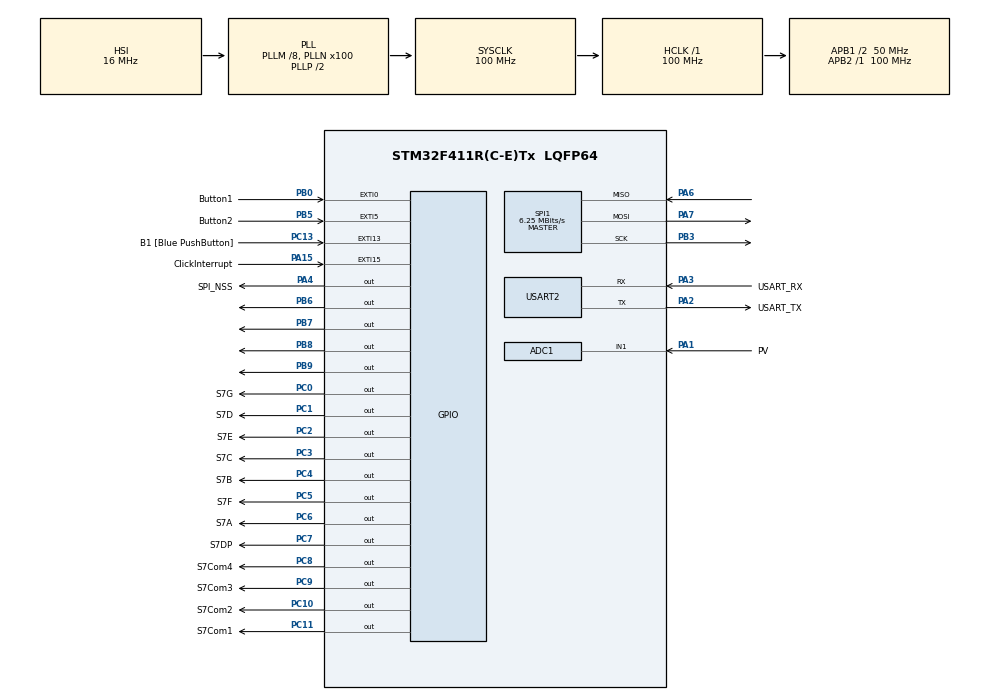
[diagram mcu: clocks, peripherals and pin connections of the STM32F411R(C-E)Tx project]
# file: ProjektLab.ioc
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ADC1.Channel-0\#ChannelRegularConversion=ADC_CHANNEL_1
ADC1.Channel-1\#ChannelRegularConversion=ADC_CHANNEL_TEMPSENSOR
ADC1.Channel-2\#ChannelRegularConversion=ADC_CHANNEL_VREFINT
ADC1.ClockPrescaler=ADC_CLOCK_SYNC_PCLK_DIV8
ADC1.ContinuousConvMode=ENABLE
ADC1.DMAContinuousRequests=ENABLE
ADC1.EnableAnalogWatchDog=true
ADC1.ExternalTrigConv=ADC_EXTERNALTRIGCONV_T2_TRGO
ADC1.HighThreshold=2000
ADC1.ITMode=ENABLE
ADC1.NbrOfConversion=3
ADC1.NbrOfConversionFlag=1
ADC1.Rank-0\#ChannelRegularConversion=1
ADC1.Rank-1\#ChannelRegularConversion=2
ADC1.Rank-2\#ChannelRegularConversion=3
ADC1.SamplingTime-0\#ChannelRegularConversion=ADC_SAMPLETIME_480CYCLES
ADC1.SamplingTime-1\#ChannelRegularConversion=ADC_SAMPLETIME_480CYCLES
ADC1.SamplingTime-2\#ChannelRegularConversion=ADC_SAMPLETIME_480CYCLES
ADC1.ScanConvMode=ENABLE
ADC1.WatchdogChannel=ADC_CHANNEL_1
ADC1.master=1
Dma.ADC1.0.Direction=DMA_PERIPH_TO_MEMORY
Dma.ADC1.0.FIFOMode=DMA_FIFOMODE_DISABLE
Dma.ADC1.0.Instance=DMA2_Stream0
Dma.ADC1.0.MemDataAlignment=DMA_MDATAALIGN_HALFWORD
Dma.ADC1.0.MemInc=DMA_MINC_ENABLE
Dma.ADC1.0.Mode=DMA_CIRCULAR
Dma.ADC1.0.PeriphDataAlignment=DMA_PDATAALIGN_HALFWORD
Dma.ADC1.0.PeriphInc=DMA_PINC_DISABLE
Dma.ADC1.0.Priority=DMA_PRIORITY_LOW
Dma.Request0=ADC1
Mcu.Family=STM32F4
Mcu.Name=STM32F411R(C-E)Tx
Mcu.Package=LQFP64
NVIC.ADC_IRQn=true\:0\:0\:false\:false\:true\:true\:true
NVIC.DMA2_Stream0_IRQn=true\:0\:0\:false\:false\:true\:false\:true
NVIC.EXTI0_IRQn=true\:0\:0\:false\:false\:true\:true\:true
NVIC.EXTI15_10_IRQn=true\:0\:0\:false\:false\:true\:true\:true
NVIC.EXTI9_5_IRQn=true\:0\:0\:false\:false\:true\:true\:true
NVIC.PriorityGroup=NVIC_PRIORITYGROUP_0
NVIC.TIM1_UP_TIM10_IRQn=true\:0\:0\:false\:false\:true\:true\:true
PA1.GPIO_Label=PV
PA1.Signal=ADCx_IN1
PA13.GPIO_Label=TMS
PA13.Mode=Serial_Wire
PA13.Signal=SYS_JTMS-SWDIO
PA14.GPIO_Label=TCK
PA14.Mode=Serial_Wire
PA14.Signal=SYS_JTCK-SWCLK
PA15.GPIO_Label=ClickInterrupt
PA15.Signal=GPXTI15
PA2.GPIO_Label=USART_TX
PA2.Mode=Asynchronous
PA2.Signal=USART2_TX
PA3.GPIO_Label=USART_RX
PA3.Mode=Asynchronous
PA3.Signal=USART2_RX
PA4.GPIO_Label=SPI_NSS
PA4.GPIO_PuPd=GPIO_PULLUP
PA4.GPIO_Speed=GPIO_SPEED_FREQ_HIGH
PA4.PinState=GPIO_PIN_SET
PA4.Signal=GPIO_Output
PA6.Mode=Full_Duplex_Master
PA6.Signal=SPI1_MISO
PA7.Mode=Full_Duplex_Master
PA7.Signal=SPI1_MOSI
PB0.GPIO_Label=Button1
PB0.GPIO_PuPd=GPIO_PULLUP
PB0.Signal=GPXTI0
PB3.Mode=Full_Duplex_Master
PB3.Signal=SPI1_SCK
PB5.GPIO_Label=Button2
PB5.GPIO_PuPd=GPIO_PULLUP
PB5.Signal=GPXTI5
PB6.Signal=GPIO_Output
PB7.Signal=GPIO_Output
PB8.Signal=GPIO_Output
PB9.Signal=GPIO_Output
PC0.GPIO_Label=S7G
PC0.Signal=GPIO_Output
PC1.GPIO_Label=S7D
PC1.Signal=GPIO_Output
PC10.GPIO_Label=S7Com2
PC10.Signal=GPIO_Output
PC11.GPIO_Label=S7Com1
PC11.Signal=GPIO_Output
PC13-ANTI_TAMP.GPIO_Label=B1 [Blue PushButton]
PC13-ANTI_TAMP.GPIO_ModeDefaultEXTI=GPIO_MODE_IT_FALLING
PC13-ANTI_TAMP.GPIO_PuPd=GPIO_PULLUP
PC13-ANTI_TAMP.Signal=GPXTI13
PC14-OSC32_IN.Mode=LSE-External-Oscillator
PC14-OSC32_IN.Signal=RCC_OSC32_IN
PC15-OSC32_OUT.Mode=LSE-External-Oscillator
PC15-OSC32_OUT.Signal=RCC_OSC32_OUT
PC2.GPIO_Label=S7E
PC2.Signal=GPIO_Output
PC3.GPIO_Label=S7C
PC3.Signal=GPIO_Output
PC4.GPIO_Label=S7B
PC4.Signal=GPIO_Output
PC5.GPIO_Label=S7F
PC5.Signal=GPIO_Output
PC6.GPIO_Label=S7A
PC6.Signal=GPIO_Output
PC7.GPIO_Label=S7DP
PC7.Signal=GPIO_Output
PC8.GPIO_Label=S7Com4
PC8.Signal=GPIO_Output
PC9.GPIO_Label=S7Com3
PC9.Signal=GPIO_Output
PH0\ -\ OSC_IN.Mode=HSE-External-Clock-Source
PH0\ -\ OSC_IN.Signal=RCC_OSC_IN
PH1\ -\ OSC_OUT.Mode=HSE-External-Clock-Source
PH1\ -\ OSC_OUT.Signal=RCC_OSC_OUT
ProjectManager.HeapSize=0x200
ProjectManager.StackSize=0x400
ProjectManager.TargetToolchain=STM32CubeIDE
RCC.48MHZClocksFreq_Value=50000000
RCC.AHBFreq_Value=100000000
RCC.APB1CLKDivider=RCC_HCLK_DIV2
RCC.APB1Freq_Value=50000000
RCC.APB1TimFreq_Value=100000000
RCC.APB2Freq_Value=100000000
RCC.APB2TimFreq_Value=100000000
RCC.CortexFreq_Value=100000000
RCC.FLatency-AdvancedSettings=FLASH_LATENCY_3
RCC.HCLKFreq_Value=100000000
RCC.HSE_VALUE=8000000
RCC.HSI_VALUE=16000000
RCC.PLLM=8
RCC.PLLN=100
RCC.SYSCLKFreq_VALUE=100000000
RCC.SYSCLKSource=RCC_SYSCLKSOURCE_PLLCLK
RCC.VCOOutputFreq_Value=200000000
SH.ADCx_IN1.0=ADC1_IN1,IN1
SPI1.BaudRatePrescaler=SPI_BAUDRATEPRESCALER_16
SPI1.CalculateBaudRate=6.25 MBits/s
SPI1.DataSize=SPI_DATASIZE_16BIT
SPI1.Direction=SPI_DIRECTION_2LINES
SPI1.Mode=SPI_MODE_MASTER
SPI1.VirtualType=VM_MASTER
TIM1.CounterMode=TIM_COUNTERMODE_UP
TIM1.Period=1000
TIM1.Prescaler=100
TIM2.Period=999
TIM2.Prescaler=99
TIM2.TIM_MasterOutputTrigger=TIM_TRGO_UPDATE
USART2.VirtualMode=VM_ASYNC
VP_ADC1_TempSens_Input.Mode=IN-TempSens
VP_ADC1_Vref_Input.Mode=IN-Vrefint
VP_TIM10_VS_ClockSourceINT.Mode=Enable_Timer
VP_TIM1_VS_ClockSourceINT.Mode=Internal
VP_TIM2_VS_ClockSourceINT.Mode=Internal
board=NUCLEO-F411RE

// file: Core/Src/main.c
/* USER CODE BEGIN Header */
/**
  ******************************************************************************
  * @file           : main.c
  * @brief          : Main program body
  ******************************************************************************
  * @attention
  *
  * <h2><center>&copy; Copyright (c) 2021 STMicroelectronics.
  * All rights reserved.</center></h2>
  *
  * This software component is licensed by ST under BSD 3-Clause license,
  * the "License"; You may not use this file except in compliance with the
  * License. You may obtain a copy of the License at:
  *                        opensource.org/licenses/BSD-3-Clause
  *
  ******************************************************************************
  */
/* USER CODE END Header */
#include "main.h"

/* USER CODE BEGIN Includes */
#include <stdlib.h>
#include "LIS35DE.h"
/* USER CODE END Includes */

ADC_HandleTypeDef hadc1;
DMA_HandleTypeDef hdma_adc1;

SPI_HandleTypeDef hspi1;

TIM_HandleTypeDef htim1;
TIM_HandleTypeDef htim2;
TIM_HandleTypeDef htim10;

UART_HandleTypeDef huart2;

/* USER CODE BEGIN PV */
static int TimerCnt = 0;
static int TimerCnt2 = 0;
volatile uint32_t click_cnt;
uint16_t  ADCRes;
int disp = 1;
int licznik = 0;
int x = 1;
int counter = 0;
int d1 = 10;
int d2 = 11;
int d3 = 12;
int d4 = 13;
uint16_t ADCDMABuff[3];
uint16_t VRef;
uint16_t Temp;
uint16_t ADCRes;
/* USER CODE END PV */

void SystemClock_Config(void);
static void MX_GPIO_Init(void);
static void MX_USART2_UART_Init(void);
static void MX_TIM10_Init(void);
static void MX_DMA_Init(void);
static void MX_ADC1_Init(void);
static void MX_TIM1_Init(void);
static void MX_TIM2_Init(void);
static void MX_SPI1_Init(void);

/* USER CODE BEGIN 0 */

uint16_t SPITx[10];
uint16_t SPIRx[10];
uint8_t SPIRead( uint8_t Address ) {
	SPITx[0] = (0x80 | Address) << 8;
	HAL_GPIO_WritePin(GPIOA, SPI_NSS_Pin, GPIO_PIN_RESET);
	HAL_SPI_TransmitReceive(&hspi1, SPITx, SPIRx, 1, 100);
	HAL_GPIO_WritePin(GPIOA, SPI_NSS_Pin, GPIO_PIN_SET);
	return( (uint8_t)(SPIRx[0] & 0xFF) );
}
void SPIWrite( uint8_t AddressAndAtributes, uint8_t Data  ) {
	SPITx[0] = (AddressAndAtributes << 8) + Data;
	HAL_GPIO_WritePin(GPIOA, SPI_NSS_Pin, GPIO_PIN_RESET);
	HAL_SPI_TransmitReceive(&hspi1, SPITx, SPIRx, 1, 100);
	HAL_GPIO_WritePin(GPIOA, SPI_NSS_Pin, GPIO_PIN_SET);
}

static const uint16_t b7SegmentTable[16] =
{
		0X3F, /* 0 */
		0X06, /* 1 */
		0X5B, /* 2 */
		0X4F, /* 3 */
		0X66, /* 4 */
		0X6D, /* 5 */
		0X7D, /* 6 */
		0X07, /* 7 */
		0X7F, /* 8 */
		0X6F, /* 9 */
		0X77, /* A */
		0X7C, /* B */
		0X39, /* C */
		0X5E, /* D */
		0X79, /* E */
		0X71 /* F */
};
void LED(int ind){
	HAL_GPIO_WritePin(GPIOB, GPIO_PIN_8|GPIO_PIN_9|GPIO_PIN_6|GPIO_PIN_7, GPIO_PIN_RESET);
	switch(ind){
		case 1:
				HAL_GPIO_WritePin(GPIOB, GPIO_PIN_6, GPIO_PIN_SET);
				break;
		case 2:
				HAL_GPIO_WritePin(GPIOB, GPIO_PIN_8|GPIO_PIN_9|GPIO_PIN_6, GPIO_PIN_SET);
				break;
		case 3:
				HAL_GPIO_WritePin(GPIOB, GPIO_PIN_7|GPIO_PIN_8, GPIO_PIN_SET);
			   	break;
		case 4:
				HAL_GPIO_WritePin(GPIOB, GPIO_PIN_9, GPIO_PIN_SET);
				break;
		case 5:
				HAL_GPIO_WritePin(GPIOB, GPIO_PIN_8|GPIO_PIN_9|GPIO_PIN_6|GPIO_PIN_7, GPIO_PIN_SET);
				break;
		}
}
int __io_putchar(int ch) {
	HAL_UART_Transmit(&huart2, (uint8_t *)&ch, 1, 0xFFFF);
	return ch;
}
void display(int num, int ind){
	   HAL_GPIO_WritePin(GPIOC, S7Com4_Pin, GPIO_PIN_SET);
	   HAL_GPIO_WritePin(GPIOC, S7Com3_Pin, GPIO_PIN_SET);
	   HAL_GPIO_WritePin(GPIOC, S7Com2_Pin, GPIO_PIN_SET);
	   HAL_GPIO_WritePin(GPIOC, S7Com1_Pin, GPIO_PIN_SET);
	   switch(ind){
			case 1:
				   HAL_GPIO_WritePin(GPIOC, S7Com1_Pin, GPIO_PIN_RESET);
				   break;
			case 2:
				   HAL_GPIO_WritePin(GPIOC, S7Com2_Pin, GPIO_PIN_RESET);
				   break;
			case 3:
				   HAL_GPIO_WritePin(GPIOC, S7Com3_Pin, GPIO_PIN_RESET);
				   break;
			case 4:
				   HAL_GPIO_WritePin(GPIOC, S7Com4_Pin, GPIO_PIN_RESET);
				   break;
		}
	   HAL_GPIO_WritePin(GPIOC, S7A_Pin, b7SegmentTable[num] & 1);
	   HAL_GPIO_WritePin(GPIOC, S7B_Pin, b7SegmentTable[num] & 2);
	   HAL_GPIO_WritePin(GPIOC, S7C_Pin, b7SegmentTable[num] & 4);
	   HAL_GPIO_WritePin(GPIOC, S7D_Pin, b7SegmentTable[num] & 8);
	   HAL_GPIO_WritePin(GPIOC, S7E_Pin, b7SegmentTable[num] & 16);
	   HAL_GPIO_WritePin(GPIOC, S7F_Pin, b7SegmentTable[num] & 32);
	   HAL_GPIO_WritePin(GPIOC, S7G_Pin, b7SegmentTable[num] & 64);
	}

void HAL_TIM_PeriodElapsedCallback(TIM_HandleTypeDef *htim) {
	if ( (htim == &htim1) && (x%3==0) ){
		counter = 0;
		 switch (disp) {
				  case 1:
					  display(ADCRes % 10, 4);
					  disp++;
					  break;
				  case 2:
					  display((ADCRes % 100) / 10, 3);
					  disp++;
					  break;
				  case 3:
					  display((ADCRes % 1000)/100, 2);
					  disp++;
					  break;
				  case 4:
					  display(ADCRes/1000, 1);
					  disp = 1;
					  break;
				  }
		TimerCnt++;
		if (ADCRes > 2000){
			LED(2);
		}
		else{
			LED(1);
		}

		switch (TimerCnt) {
			case 1000:
				HAL_ADC_Start(&hadc1);
				HAL_ADC_PollForConversion(&hadc1, HAL_MAX_DELAY);
				ADCRes = HAL_ADC_GetValue(&hadc1);                    // 0-4095 == 0-3.3V
				ADCRes = (uint16_t)(3.3 * (double)ADCRes / 4.095);    // [mV]
				printf("ADC: %d \r\n", ADCRes);
				TimerCnt = 0;
				  }
  }
	else if ( (htim == &htim1) && (x%3==1) ){
		 switch (disp) {
				  case 1:
					  display(counter % 10, 4);
					  disp++;
					  break;
				  case 2:
					  display((counter % 100) / 10, 3);
					  disp++;
					  break;
				  case 3:
					  display((counter % 1000)/100, 2);
					  disp++;
					  break;
				  case 4:
					  display(counter/1000, 1);
					  disp = 1;
					  break;
				  }
		 LED(3);
		 TimerCnt2++;
		 switch (TimerCnt2) {
		 			case 1000:
//						HAL_ADC_Start_DMA(&hadc1, (uint32_t *)ADCDMABuff,  3);
//						HAL_ADC_PollForConversion(&hadc1, HAL_MAX_DELAY);
//						uint16_t VRef, Temp, ADCRes;
						ADCRes = ADCDMABuff[0];
						ADCRes = (uint16_t)(3.3 * (double)ADCRes / 4.095);

						Temp = ADCDMABuff[1];
						Temp = (float)(((3.3 * Temp/4.095 - 697)/2.5)*100);

						VRef = ADCDMABuff[2];
						VRef = (uint16_t)(3.3 * (double)VRef / 4.095);

						printf("%d %d %d \r\n", (uint16_t)ADCRes, (uint16_t)Temp, (uint16_t)VRef);
//						printf("%d %d %d \r\n", ADCDMABuff);
						counter++;
						TimerCnt2 = 0;
			  }

 }
	else if ( (htim == &htim1) && (x%3==2) ){
		counter = 0;
//		switch (disp) {
//			  case 1:
//				  display(d1, 1);
//				  disp++;
//				  break;
//			  case 2:
//				  display(d2, 2);
//				  disp++;
//				  break;
//			  case 3:
//				  display(d3, 3);
//				  disp++;
//				  break;
//			  case 4:
//				  display(d4, 4);
//				  disp = 1;
//				  break;
//			  }
		switch (disp) {
			  case 1:
				  display(click_cnt % 10, 4);
				  disp++;
				  break;
			  case 2:
				  display((click_cnt % 100) / 10, 3);
				  disp++;
				  break;
			  case 3:
				  display((click_cnt % 1000)/100, 2);
				  disp++;
				  break;
			  case 4:
				  display(click_cnt/1000, 1);
				  disp = 1;
				  break;
			  }
		uint8_t data_x, data_y, data_z;

//		data_x = SPIRead(LIS35DE_OUTX);
//		data_y = SPIRead(LIS35DE_OUTY);
//		data_z = SPIRead(LIS35DE_OUTZ);
//		printf("%d %d %d \r\n", (int)data_x, (int)data_y, (int)data_z);
		TimerCnt++;
		switch (TimerCnt) {
			case 500:
				LED(4);
				data_x = SPIRead(LIS35DE_OUTX);
				data_y = SPIRead(LIS35DE_OUTY);
				data_z = SPIRead(LIS35DE_OUTZ);
				printf("%d %d %d \r\n", (int)data_x, (int)data_y, (int)data_z);
//				d1++;
//				d2++;
//				d3++;
//				d4++;
//				if (d1 == 16){
//					d1 = 10;
//				}
//				if (d2 == 16){
//					d2 = 10;
//				}
//				if (d3 == 16){
//					d3 = 10;
//				}
//				if (d4 == 16){
//					d4 = 10;
//				}

				break;
			case 1000:
				LED(5);
				TimerCnt = 0;
				break;
		}
	}
	if (htim == &htim10){
		if ((HAL_GPIO_ReadPin(GPIOB, Button1_Pin) == 0) || (HAL_GPIO_ReadPin(GPIOB, Button2_Pin) == 0)){
					licznik++;
				}
		else licznik = 0;
	}

}
//void HAL_TIM_PeriodElapsedCallback(TIM_HandleTypeDef *htim) {
//	if( htim == &htim1 )
//	{
//		uint8_t data_x, data_y, data_z;
//
//		data_x = SPIRead(LIS35DE_OUTX);
//		data_y = SPIRead(LIS35DE_OUTY);
//		data_z = SPIRead(LIS35DE_OUTZ);
//
//		printf("%d %d %d \r\n", (int)data_x, (int)data_y, (int)data_z);
//
//		//time = display_show_number(ADCRes, DISPLAY_FREQ_250, time);
//	}
//}
/* USER CODE END 0 */

int main(void)
{

  /* MCU Configuration--------------------------------------------------------*/

  /* Reset of all peripherals, Initializes the Flash interface and the Systick. */
  HAL_Init();

  /* Configure the system clock */
  SystemClock_Config();

  /* Initialize all configured peripherals */
  MX_GPIO_Init();
  MX_USART2_UART_Init();
  MX_TIM10_Init();
  MX_DMA_Init();
  MX_ADC1_Init();
  MX_TIM1_Init();
  MX_TIM2_Init();
  MX_SPI1_Init();
  /* USER CODE BEGIN 2 */
  HAL_TIM_Base_Start_IT(&htim1);
  HAL_TIM_Base_Start_IT(&htim2);
  HAL_TIM_Base_Start_IT(&htim10);
  HAL_ADC_Start_IT(&hadc1);
  HAL_ADC_Start_DMA(&hadc1, (uint32_t *)ADCDMABuff,  3);
  HAL_ADC_Start(&hadc1);
  SPIWrite(LIS35DE_CTRL_REG1, LIS35DE_CTRL_REG1_DR | LIS35DE_CTRL_REG1_PD | LIS35DE_CTRL_REG1_ZEN |
		  	  	  	  	  	  LIS35DE_CTRL_REG1_YEN | LIS35DE_CTRL_REG1_XEN);
  SPIWrite(LIS35DE_CTRL_REG2, LIS35DE_CTRL_REG2_BOOT);
  SPIWrite(LIS35DE_CTRL_REG3, LIS35DE_CTRL_REG3_IHL | LIS35DE_CTRL_REG3_I1CFG0 |
		  	  	  	  	  	  LIS35DE_CTRL_REG3_I1CFG1 | LIS35DE_CTRL_REG3_I1CFG2);

  SPIWrite(LIS35DE_CLICK_CFG, LIS35DE_CLICK_CFG_DOUBLE_X | LIS35DE_CLICK_CFG_DOUBLE_Y | LIS35DE_CLICK_CFG_DOUBLE_Z);
  SPIWrite(LIS35DE_CLICK_THSY_X, 0xF1);
  SPIWrite(LIS35DE_CLICK_THSZ, 0x01);

  SPIWrite(LIS35DE_CLICK_TIMELIMIT, 0xFF);
  SPIWrite(LIS35DE_CLICK_LATENCY, 0x7F);
  SPIWrite(LIS35DE_CLICK_WINDOW, 0xFF);
  /* USER CODE END 2 */

  /* Infinite loop */
  while (1)
  {

    /* USER CODE BEGIN 3 */

	  if ((licznik>5) && (licznik<255)){
		  if(HAL_GPIO_ReadPin(GPIOB, Button1_Pin) == 0){
			  if (x == 0){
				  x = 0;
				  licznik = 255;
			  }
			  else if (x > 0){
				  x--;
				  licznik = 255;
			  }
		  }
		  else if ((HAL_GPIO_ReadPin(GPIOB, Button2_Pin) == 0)){
			  if (x == 2){
				  x = 2;
				  licznik = 255;
			  }
			  else if (x <2){
				  x++;
				  licznik = 255;
			  }
		  }
	  }

 }
  /* USER CODE END 3 */
}

void SystemClock_Config(void)
{
  RCC_OscInitTypeDef RCC_OscInitStruct = {0};
  RCC_ClkInitTypeDef RCC_ClkInitStruct = {0};

  /** Configure the main internal regulator output voltage
  */
  __HAL_RCC_PWR_CLK_ENABLE();
  __HAL_PWR_VOLTAGESCALING_CONFIG(PWR_REGULATOR_VOLTAGE_SCALE1);
  /** Initializes the RCC Oscillators according to the specified parameters
  * in the RCC_OscInitTypeDef structure.
  */
  RCC_OscInitStruct.OscillatorType = RCC_OSCILLATORTYPE_HSI;
  RCC_OscInitStruct.HSIState = RCC_HSI_ON;
  RCC_OscInitStruct.HSICalibrationValue = RCC_HSICALIBRATION_DEFAULT;
  RCC_OscInitStruct.PLL.PLLState = RCC_PLL_ON;
  RCC_OscInitStruct.PLL.PLLSource = RCC_PLLSOURCE_HSI;
  RCC_OscInitStruct.PLL.PLLM = 8;
  RCC_OscInitStruct.PLL.PLLN = 100;
  RCC_OscInitStruct.PLL.PLLP = RCC_PLLP_DIV2;
  RCC_OscInitStruct.PLL.PLLQ = 4;
  if (HAL_RCC_OscConfig(&RCC_OscInitStruct) != HAL_OK)
  {
    Error_Handler();
  }
  /** Initializes the CPU, AHB and APB buses clocks
  */
  RCC_ClkInitStruct.ClockType = RCC_CLOCKTYPE_HCLK|RCC_CLOCKTYPE_SYSCLK
                              |RCC_CLOCKTYPE_PCLK1|RCC_CLOCKTYPE_PCLK2;
  RCC_ClkInitStruct.SYSCLKSource = RCC_SYSCLKSOURCE_PLLCLK;
  RCC_ClkInitStruct.AHBCLKDivider = RCC_SYSCLK_DIV1;
  RCC_ClkInitStruct.APB1CLKDivider = RCC_HCLK_DIV2;
  RCC_ClkInitStruct.APB2CLKDivider = RCC_HCLK_DIV1;

  if (HAL_RCC_ClockConfig(&RCC_ClkInitStruct, FLASH_LATENCY_3) != HAL_OK)
  {
    Error_Handler();
  }
}

static void MX_ADC1_Init(void)
{

  ADC_AnalogWDGConfTypeDef AnalogWDGConfig = {0};
  ADC_ChannelConfTypeDef sConfig = {0};

  /** Configure the global features of the ADC (Clock, Resolution, Data Alignment and number of conversion)
  */
  hadc1.Instance = ADC1;
  hadc1.Init.ClockPrescaler = ADC_CLOCK_SYNC_PCLK_DIV8;
  hadc1.Init.Resolution = ADC_RESOLUTION_12B;
  hadc1.Init.ScanConvMode = ENABLE;
  hadc1.Init.ContinuousConvMode = ENABLE;
  hadc1.Init.DiscontinuousConvMode = DISABLE;
  hadc1.Init.ExternalTrigConvEdge = ADC_EXTERNALTRIGCONVEDGE_RISING;
  hadc1.Init.ExternalTrigConv = ADC_EXTERNALTRIGCONV_T2_TRGO;
  hadc1.Init.DataAlign = ADC_DATAALIGN_RIGHT;
  hadc1.Init.NbrOfConversion = 3;
  hadc1.Init.DMAContinuousRequests = ENABLE;
  hadc1.Init.EOCSelection = ADC_EOC_SINGLE_CONV;
  if (HAL_ADC_Init(&hadc1) != HAL_OK)
  {
    Error_Handler();
  }
  /** Configure the analog watchdog
  */
  AnalogWDGConfig.WatchdogMode = ADC_ANALOGWATCHDOG_SINGLE_REG;
  AnalogWDGConfig.HighThreshold = 2000;
  AnalogWDGConfig.LowThreshold = 0;
  AnalogWDGConfig.Channel = ADC_CHANNEL_1;
  AnalogWDGConfig.ITMode = ENABLE;
  if (HAL_ADC_AnalogWDGConfig(&hadc1, &AnalogWDGConfig) != HAL_OK)
  {
    Error_Handler();
  }
  /** Configure for the selected ADC regular channel its corresponding rank in the sequencer and its sample time.
  */
  sConfig.Channel = ADC_CHANNEL_1;
  sConfig.Rank = 1;
  sConfig.SamplingTime = ADC_SAMPLETIME_480CYCLES;
  if (HAL_ADC_ConfigChannel(&hadc1, &sConfig) != HAL_OK)
  {
    Error_Handler();
  }
  /** Configure for the selected ADC regular channel its corresponding rank in the sequencer and its sample time.
  */
  sConfig.Channel = ADC_CHANNEL_TEMPSENSOR;
  sConfig.Rank = 2;
  if (HAL_ADC_ConfigChannel(&hadc1, &sConfig) != HAL_OK)
  {
    Error_Handler();
  }
  /** Configure for the selected ADC regular channel its corresponding rank in the sequencer and its sample time.
  */
  sConfig.Channel = ADC_CHANNEL_VREFINT;
  sConfig.Rank = 3;
  if (HAL_ADC_ConfigChannel(&hadc1, &sConfig) != HAL_OK)
  {
    Error_Handler();
  }

}

static void MX_SPI1_Init(void)
{

  /* SPI1 parameter configuration*/
  hspi1.Instance = SPI1;
  hspi1.Init.Mode = SPI_MODE_MASTER;
  hspi1.Init.Direction = SPI_DIRECTION_2LINES;
  hspi1.Init.DataSize = SPI_DATASIZE_16BIT;
  hspi1.Init.CLKPolarity = SPI_POLARITY_LOW;
  hspi1.Init.CLKPhase = SPI_PHASE_1EDGE;
  hspi1.Init.NSS = SPI_NSS_SOFT;
  hspi1.Init.BaudRatePrescaler = SPI_BAUDRATEPRESCALER_16;
  hspi1.Init.FirstBit = SPI_FIRSTBIT_MSB;
  hspi1.Init.TIMode = SPI_TIMODE_DISABLE;
  hspi1.Init.CRCCalculation = SPI_CRCCALCULATION_DISABLE;
  hspi1.Init.CRCPolynomial = 10;
  if (HAL_SPI_Init(&hspi1) != HAL_OK)
  {
    Error_Handler();
  }

}

static void MX_TIM1_Init(void)
{

  TIM_ClockConfigTypeDef sClockSourceConfig = {0};
  TIM_MasterConfigTypeDef sMasterConfig = {0};

  htim1.Instance = TIM1;
  htim1.Init.Prescaler = 100;
  htim1.Init.CounterMode = TIM_COUNTERMODE_UP;
  htim1.Init.Period = 1000;
  htim1.Init.ClockDivision = TIM_CLOCKDIVISION_DIV1;
  htim1.Init.RepetitionCounter = 0;
  htim1.Init.AutoReloadPreload = TIM_AUTORELOAD_PRELOAD_DISABLE;
  if (HAL_TIM_Base_Init(&htim1) != HAL_OK)
  {
    Error_Handler();
  }
  sClockSourceConfig.ClockSource = TIM_CLOCKSOURCE_INTERNAL;
  if (HAL_TIM_ConfigClockSource(&htim1, &sClockSourceConfig) != HAL_OK)
  {
    Error_Handler();
  }
  sMasterConfig.MasterOutputTrigger = TIM_TRGO_RESET;
  sMasterConfig.MasterSlaveMode = TIM_MASTERSLAVEMODE_DISABLE;
  if (HAL_TIMEx_MasterConfigSynchronization(&htim1, &sMasterConfig) != HAL_OK)
  {
    Error_Handler();
  }

}

static void MX_TIM2_Init(void)
{

  TIM_ClockConfigTypeDef sClockSourceConfig = {0};
  TIM_MasterConfigTypeDef sMasterConfig = {0};

  htim2.Instance = TIM2;
  htim2.Init.Prescaler = 99;
  htim2.Init.CounterMode = TIM_COUNTERMODE_UP;
  htim2.Init.Period = 999;
  htim2.Init.ClockDivision = TIM_CLOCKDIVISION_DIV1;
  htim2.Init.AutoReloadPreload = TIM_AUTORELOAD_PRELOAD_DISABLE;
  if (HAL_TIM_Base_Init(&htim2) != HAL_OK)
  {
    Error_Handler();
  }
  sClockSourceConfig.ClockSource = TIM_CLOCKSOURCE_INTERNAL;
  if (HAL_TIM_ConfigClockSource(&htim2, &sClockSourceConfig) != HAL_OK)
  {
    Error_Handler();
  }
  sMasterConfig.MasterOutputTrigger = TIM_TRGO_UPDATE;
  sMasterConfig.MasterSlaveMode = TIM_MASTERSLAVEMODE_DISABLE;
  if (HAL_TIMEx_MasterConfigSynchronization(&htim2, &sMasterConfig) != HAL_OK)
  {
    Error_Handler();
  }

}

static void MX_TIM10_Init(void)
{

  htim10.Instance = TIM10;
  htim10.Init.Prescaler = 0;
  htim10.Init.CounterMode = TIM_COUNTERMODE_UP;
  htim10.Init.Period = 65535;
  htim10.Init.ClockDivision = TIM_CLOCKDIVISION_DIV1;
  htim10.Init.AutoReloadPreload = TIM_AUTORELOAD_PRELOAD_DISABLE;
  if (HAL_TIM_Base_Init(&htim10) != HAL_OK)
  {
    Error_Handler();
  }

}

static void MX_USART2_UART_Init(void)
{

  huart2.Instance = USART2;
  huart2.Init.BaudRate = 115200;
  huart2.Init.WordLength = UART_WORDLENGTH_8B;
  huart2.Init.StopBits = UART_STOPBITS_1;
  huart2.Init.Parity = UART_PARITY_NONE;
  huart2.Init.Mode = UART_MODE_TX_RX;
  huart2.Init.HwFlowCtl = UART_HWCONTROL_NONE;
  huart2.Init.OverSampling = UART_OVERSAMPLING_16;
  if (HAL_UART_Init(&huart2) != HAL_OK)
  {
    Error_Handler();
  }

}

static void MX_DMA_Init(void)
{

  /* DMA controller clock enable */
  __HAL_RCC_DMA2_CLK_ENABLE();

  /* DMA interrupt init */
  /* DMA2_Stream0_IRQn interrupt configuration */
  HAL_NVIC_SetPriority(DMA2_Stream0_IRQn, 0, 0);
  HAL_NVIC_EnableIRQ(DMA2_Stream0_IRQn);

}

static void MX_GPIO_Init(void)
{
  GPIO_InitTypeDef GPIO_InitStruct = {0};

  /* GPIO Ports Clock Enable */
  __HAL_RCC_GPIOC_CLK_ENABLE();
  __HAL_RCC_GPIOH_CLK_ENABLE();
  __HAL_RCC_GPIOA_CLK_ENABLE();
  __HAL_RCC_GPIOB_CLK_ENABLE();

  /*Configure GPIO pin Output Level */
  HAL_GPIO_WritePin(GPIOC, S7G_Pin|S7D_Pin|S7E_Pin|S7C_Pin
                          |S7B_Pin|S7F_Pin|S7A_Pin|S7DP_Pin
                          |S7Com4_Pin|S7Com3_Pin|S7Com2_Pin|S7Com1_Pin, GPIO_PIN_RESET);

  /*Configure GPIO pin Output Level */
  HAL_GPIO_WritePin(SPI_NSS_GPIO_Port, SPI_NSS_Pin, GPIO_PIN_SET);

  /*Configure GPIO pin Output Level */
  HAL_GPIO_WritePin(GPIOB, GPIO_PIN_6|GPIO_PIN_7|GPIO_PIN_8|GPIO_PIN_9, GPIO_PIN_RESET);

  /*Configure GPIO pin : B1_Pin */
  GPIO_InitStruct.Pin = B1_Pin;
  GPIO_InitStruct.Mode = GPIO_MODE_IT_FALLING;
  GPIO_InitStruct.Pull = GPIO_PULLUP;
  HAL_GPIO_Init(B1_GPIO_Port, &GPIO_InitStruct);

  /*Configure GPIO pins : S7G_Pin S7D_Pin S7E_Pin S7C_Pin
                           S7B_Pin S7F_Pin S7A_Pin S7DP_Pin
                           S7Com4_Pin S7Com3_Pin S7Com2_Pin S7Com1_Pin */
  GPIO_InitStruct.Pin = S7G_Pin|S7D_Pin|S7E_Pin|S7C_Pin
                          |S7B_Pin|S7F_Pin|S7A_Pin|S7DP_Pin
                          |S7Com4_Pin|S7Com3_Pin|S7Com2_Pin|S7Com1_Pin;
  GPIO_InitStruct.Mode = GPIO_MODE_OUTPUT_PP;
  GPIO_InitStruct.Pull = GPIO_NOPULL;
  GPIO_InitStruct.Speed = GPIO_SPEED_FREQ_LOW;
  HAL_GPIO_Init(GPIOC, &GPIO_InitStruct);

  /*Configure GPIO pin : SPI_NSS_Pin */
  GPIO_InitStruct.Pin = SPI_NSS_Pin;
  GPIO_InitStruct.Mode = GPIO_MODE_OUTPUT_PP;
  GPIO_InitStruct.Pull = GPIO_PULLUP;
  GPIO_InitStruct.Speed = GPIO_SPEED_FREQ_HIGH;
  HAL_GPIO_Init(SPI_NSS_GPIO_Port, &GPIO_InitStruct);

  /*Configure GPIO pins : Button1_Pin Button2_Pin */
  GPIO_InitStruct.Pin = Button1_Pin|Button2_Pin;
  GPIO_InitStruct.Mode = GPIO_MODE_IT_RISING;
  GPIO_InitStruct.Pull = GPIO_PULLUP;
  HAL_GPIO_Init(GPIOB, &GPIO_InitStruct);

  /*Configure GPIO pin : ClickInterrupt_Pin */
  GPIO_InitStruct.Pin = ClickInterrupt_Pin;
  GPIO_InitStruct.Mode = GPIO_MODE_IT_RISING;
  GPIO_InitStruct.Pull = GPIO_NOPULL;
  HAL_GPIO_Init(ClickInterrupt_GPIO_Port, &GPIO_InitStruct);

  /*Configure GPIO pins : PB6 PB7 PB8 PB9 */
  GPIO_InitStruct.Pin = GPIO_PIN_6|GPIO_PIN_7|GPIO_PIN_8|GPIO_PIN_9;
  GPIO_InitStruct.Mode = GPIO_MODE_OUTPUT_PP;
  GPIO_InitStruct.Pull = GPIO_NOPULL;
  GPIO_InitStruct.Speed = GPIO_SPEED_FREQ_LOW;
  HAL_GPIO_Init(GPIOB, &GPIO_InitStruct);

  /* EXTI interrupt init*/
  HAL_NVIC_SetPriority(EXTI0_IRQn, 0, 0);
  HAL_NVIC_EnableIRQ(EXTI0_IRQn);

  HAL_NVIC_SetPriority(EXTI9_5_IRQn, 0, 0);
  HAL_NVIC_EnableIRQ(EXTI9_5_IRQn);

  HAL_NVIC_SetPriority(EXTI15_10_IRQn, 0, 0);
  HAL_NVIC_EnableIRQ(EXTI15_10_IRQn);

}

/* USER CODE BEGIN 4 */
void HAL_GPIO_EXTI_Callback(uint16_t GPIO_Pin)
{
  if(GPIO_Pin == GPIO_PIN_15)
  {
	  click_cnt += 1;
  }
}
/* USER CODE END 4 */

void Error_Handler(void)
{
  __disable_irq();
  while (1)
  {
  }
}

/************************ (C) COPYRIGHT STMicroelectronics *****END OF FILE****/
